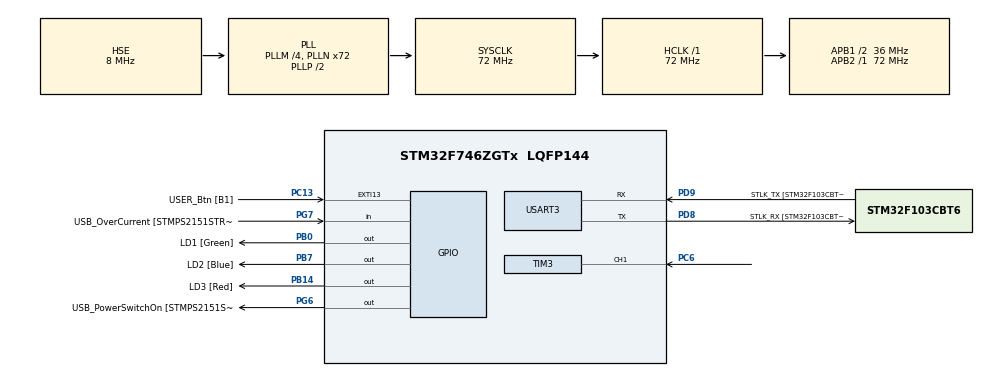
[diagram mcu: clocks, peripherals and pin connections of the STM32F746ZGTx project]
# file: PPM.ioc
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Mcu.Family=STM32F7
Mcu.Name=STM32F746ZGTx
Mcu.Package=LQFP144
NVIC.PriorityGroup=NVIC_PRIORITYGROUP_4
NVIC.TIM3_IRQn=true\:0\:0\:false\:false\:true\:true\:true\:true
NVIC.TIM6_DAC_IRQn=true\:0\:0\:false\:false\:true\:true\:true\:true
PA1.GPIO_Label=RMII_REF_CLK [LAN8742A-CZ-TR_REFCLK0]
PA1.Signal=ETH_REF_CLK
PA10.GPIO_Label=USB_ID
PA10.Signal=USB_OTG_FS_ID
PA11.GPIO_Label=USB_DM
PA11.Signal=USB_OTG_FS_DM
PA12.GPIO_Label=USB_DP
PA12.Signal=USB_OTG_FS_DP
PA13.GPIO_Label=TMS
PA13.Mode=Serial_Wire
PA13.Signal=SYS_JTMS-SWDIO
PA14.GPIO_Label=TCK
PA14.Mode=Serial_Wire
PA14.Signal=SYS_JTCK-SWCLK
PA2.GPIO_Label=RMII_MDIO [LAN8742A-CZ-TR_MDIO]
PA2.Signal=ETH_MDIO
PA7.GPIO_Label=RMII_CRS_DV [LAN8742A-CZ-TR_CRS_DV]
PA7.Signal=ETH_CRS_DV
PA8.GPIO_Label=USB_SOF [TP1]
PA8.Signal=USB_OTG_FS_SOF
PA9.GPIO_Label=USB_VBUS
PA9.Signal=USB_OTG_FS_VBUS
PB0.GPIO_Label=LD1 [Green]
PB0.Signal=GPIO_Output
PB13.GPIO_Label=RMII_TXD1 [LAN8742A-CZ-TR_TXD1]
PB13.Signal=ETH_TXD1
PB14.GPIO_Label=LD3 [Red]
PB14.Signal=GPIO_Output
PB3.GPIO_Label=SW0
PB3.Signal=SYS_JTDO-SWO
PB7.GPIO_Label=LD2 [Blue]
PB7.Signal=GPIO_Output
PC1.GPIO_Label=RMII_MDC [LAN8742A-CZ-TR_MDC]
PC1.Signal=ETH_MDC
PC13.GPIO_Label=USER_Btn [B1]
PC13.Signal=GPXTI13
PC14/OSC32_IN.Mode=LSE-External-Oscillator
PC14/OSC32_IN.Signal=RCC_OSC32_IN
PC15/OSC32_OUT.Mode=LSE-External-Oscillator
PC15/OSC32_OUT.Signal=RCC_OSC32_OUT
PC4.GPIO_Label=RMII_RXD0 [LAN8742A-CZ-TR_RXD0]
PC4.Signal=ETH_RXD0
PC5.GPIO_Label=RMII_RXD1 [LAN8742A-CZ-TR_RXD1]
PC5.Signal=ETH_RXD1
PC6.Signal=S_TIM3_CH1
PD8.GPIO_Label=STLK_RX [STM32F103CBT6_PA3]
PD8.GPIO_PuPd=GPIO_PULLUP
PD8.Mode=Asynchronous
PD8.Signal=USART3_TX
PD9.GPIO_Label=STLK_TX [STM32F103CBT6_PA2]
PD9.GPIO_PuPd=GPIO_PULLUP
PD9.Mode=Asynchronous
PD9.Signal=USART3_RX
PG11.GPIO_Label=RMII_TX_EN [LAN8742A-CZ-TR_TXEN]
PG11.Signal=ETH_TX_EN
PG13.GPIO_Label=RMII_TXD0 [LAN8742A-CZ-TR_TXD0]
PG13.Signal=ETH_TXD0
PG6.GPIO_Label=USB_PowerSwitchOn [STMPS2151STR_EN]
PG6.Signal=GPIO_Output
PG7.GPIO_Label=USB_OverCurrent [STMPS2151STR_FAULT]
PG7.Signal=GPIO_Input
PH0/OSC_IN.GPIO_Label=MCO [STM32F103CBT6_PA8]
PH0/OSC_IN.Mode=HSE-External-Clock-Source
PH0/OSC_IN.Signal=RCC_OSC_IN
PH1/OSC_OUT.Mode=HSE-External-Clock-Source
PH1/OSC_OUT.Signal=RCC_OSC_OUT
ProjectManager.HeapSize=0x200
ProjectManager.StackSize=0x400
ProjectManager.TargetToolchain=STM32CubeIDE
RCC.48MHZClocksFreq_Value=24000000
RCC.AHBFreq_Value=72000000
RCC.APB1CLKDivider=RCC_HCLK_DIV2
RCC.APB1Freq_Value=36000000
RCC.APB1TimFreq_Value=72000000
RCC.APB2Freq_Value=72000000
RCC.APB2TimFreq_Value=72000000
RCC.CortexFreq_Value=72000000
RCC.HCLKFreq_Value=72000000
RCC.HSE_VALUE=8000000
RCC.HSI_VALUE=16000000
RCC.PLLM=4
RCC.PLLMUL=RCC_PLL_MUL9
RCC.PLLN=72
RCC.PLLQ=3
RCC.PLLSourceVirtual=RCC_PLLSOURCE_HSE
RCC.PRESCALERUSB=RCC_USBCLKSOURCE_PLL_DIV1_5
RCC.SYSCLKFreq_VALUE=72000000
RCC.SYSCLKSource=RCC_SYSCLKSOURCE_PLLCLK
RCC.SYSCLKSourceVirtual=RCC_SYSCLKSOURCE_PLLCLK
RCC.USBFreq_Value=48000000
RCC.VCOOutputFreq_Value=144000000
SH.S_TIM3_CH1.0=TIM3_CH1,Input_Capture1_from_TI1
TIM3.Channel-Input_Capture1_from_TI1=TIM_CHANNEL_1
TIM3.ICPolarity_CH1=TIM_INPUTCHANNELPOLARITY_FALLING
TIM3.Period=0xFFFF
TIM3.Prescaler=71
TIM6.Period=20000
TIM6.Prescaler=7199
USART3.VirtualMode-Asynchronous=VM_ASYNC
VP_TIM6_VS_ClockSourceINT.Mode=Enable_Timer
board=NUCLEO-F746ZG

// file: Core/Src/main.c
/* USER CODE BEGIN Header */
/**
  ******************************************************************************
  * @file           : main.c
  * @brief          : Main program body
  ******************************************************************************
  * @attention
  *
  * Copyright (c) 2023 STMicroelectronics.
  * All rights reserved.
  *
  * This software is licensed under terms that can be found in the LICENSE file
  * in the root directory of this software component.
  * If no LICENSE file comes with this software, it is provided AS-IS.
  * This software is written for the test of the PPM module based on Nucleo-746.
  ******************************************************************************
  */
/* USER CODE END Header */
#include "main.h"
#include "tim.h"
#include "usart.h"
#include "gpio.h"

/* USER CODE BEGIN Includes */
#include "PPM.h"
/* USER CODE END Includes */

/* USER CODE BEGIN PV */
uint8_t msg_buffer[200];
const uint8_t packet_lost_msg [] = "Packet Lost...\n";
/* USER CODE END PV */

void SystemClock_Config(void);

int main(void)
{

  /* MCU Configuration--------------------------------------------------------*/

  /* Reset of all peripherals, Initializes the Flash interface and the Systick. */
  HAL_Init();

  /* Configure the system clock */
  SystemClock_Config();

  /* Initialize all configured peripherals */
  MX_GPIO_Init();
  MX_USART3_UART_Init();
  MX_TIM3_Init();
  MX_TIM6_Init();
  /* USER CODE BEGIN 2 */

  if ( HAL_TIM_Base_Start_IT(&htim6) != HAL_OK )
  {
	  HAL_UART_Transmit(&huart3,(const uint8_t*) "Timer6 Configuration Error\n",
	  				sizeof("Timer6 Configuration Error\n"), 10);
  }
  if (HAL_TIM_IC_Start_IT(&htim3, TIM_CHANNEL_1) != HAL_OK )
	{
		HAL_UART_Transmit(&huart3,(const uint8_t*) "Timer3 Configuration Error\n",
				sizeof("Timer3 Configuration Error\n"), 10);
	}
  /* USER CODE END 2 */

  /* Infinite loop */
  while (1)
  {

    /* USER CODE BEGIN 3 */
	  HAL_GPIO_TogglePin(LD2_GPIO_Port, LD2_Pin);
	  /*sprintf((char*)msg_buffer,"channel[%d]=%d\n",0,PpmGetChannelRaw(0));
	  HAL_UART_Transmit(&huart3, msg_buffer, sizeof(msg_buffer),10);*/
	  if( PpmStatusCheck() == kPpmPacketLost )
	  {
		  HAL_UART_Transmit(&huart3, packet_lost_msg, sizeof(packet_lost_msg),10);
	  }
	  else
	  {
		  sprintf((char*)msg_buffer,"channel[%d]=%d\n",kPpmChannel1,PpmGetChannelRaw(kPpmChannel1));
		  HAL_UART_Transmit(&huart3, msg_buffer, sizeof(msg_buffer),10);
	  }
	  HAL_Delay(500);

  }
  /* USER CODE END 3 */
}

void SystemClock_Config(void)
{
  RCC_OscInitTypeDef RCC_OscInitStruct = {0};
  RCC_ClkInitTypeDef RCC_ClkInitStruct = {0};

  /** Configure LSE Drive Capability
  */
  HAL_PWR_EnableBkUpAccess();

  /** Configure the main internal regulator output voltage
  */
  __HAL_RCC_PWR_CLK_ENABLE();
  __HAL_PWR_VOLTAGESCALING_CONFIG(PWR_REGULATOR_VOLTAGE_SCALE3);

  /** Initializes the RCC Oscillators according to the specified parameters
  * in the RCC_OscInitTypeDef structure.
  */
  RCC_OscInitStruct.OscillatorType = RCC_OSCILLATORTYPE_HSE;
  RCC_OscInitStruct.HSEState = RCC_HSE_BYPASS;
  RCC_OscInitStruct.PLL.PLLState = RCC_PLL_ON;
  RCC_OscInitStruct.PLL.PLLSource = RCC_PLLSOURCE_HSE;
  RCC_OscInitStruct.PLL.PLLM = 4;
  RCC_OscInitStruct.PLL.PLLN = 72;
  RCC_OscInitStruct.PLL.PLLP = RCC_PLLP_DIV2;
  RCC_OscInitStruct.PLL.PLLQ = 3;
  if (HAL_RCC_OscConfig(&RCC_OscInitStruct) != HAL_OK)
  {
    Error_Handler();
  }

  /** Initializes the CPU, AHB and APB buses clocks
  */
  RCC_ClkInitStruct.ClockType = RCC_CLOCKTYPE_HCLK|RCC_CLOCKTYPE_SYSCLK
                              |RCC_CLOCKTYPE_PCLK1|RCC_CLOCKTYPE_PCLK2;
  RCC_ClkInitStruct.SYSCLKSource = RCC_SYSCLKSOURCE_PLLCLK;
  RCC_ClkInitStruct.AHBCLKDivider = RCC_SYSCLK_DIV1;
  RCC_ClkInitStruct.APB1CLKDivider = RCC_HCLK_DIV2;
  RCC_ClkInitStruct.APB2CLKDivider = RCC_HCLK_DIV1;

  if (HAL_RCC_ClockConfig(&RCC_ClkInitStruct, FLASH_LATENCY_2) != HAL_OK)
  {
    Error_Handler();
  }
}

/* USER CODE BEGIN 4 */
uint32_t pulse_width = 0;
static uint16_t tim3_capture_width = 0;
static uint16_t tim3_capture1 = 0;
static uint16_t tim3_capture2 = 0;
/**
 * @fn void HAL_TIM_IC_CaptureCallback(TIM_HandleTypeDef*)
 * @brief 	This function is called when the rising edge of the PPM signal occurred
 *			The timer counter is picked up and the difference between current
 *			counter and previously stored counter are calculated.
 * @pre
 * @post  the timer must be initialized at 1 MHz and the rising or the falling edge triggered.
 * @param htim handler of timer
 */
void HAL_TIM_IC_CaptureCallback(TIM_HandleTypeDef* htim)
{
	if(htim->Instance == TIM3 && htim->Channel == HAL_TIM_ACTIVE_CHANNEL_1)
	{
		/**
		 * The timer counts from 0 to 0xFFFF. When the counter register is read,
		 * it may be a number range of 0 to 0xFFFF. The difference between this
		 * to number should be calculated. It's possible first number is greater
		 * than the second number that originates from the essence of the circular
		 * timer counter. this part of the code solves this issue.
		 */
		tim3_capture2 = HAL_TIM_ReadCapturedValue(htim, TIM_CHANNEL_1);

		if(tim3_capture2 > tim3_capture1)
		{
			tim3_capture_width = (tim3_capture2 - tim3_capture1);
			PpmEngine(tim3_capture_width);
		}
		else if (tim3_capture2 < tim3_capture1)
		{
			tim3_capture_width = ((0xFFFF - tim3_capture1) + tim3_capture2)+1;
			PpmEngine(tim3_capture_width);
		}
		else
		{
			/*An error is occurred */
			PpmTimeOut();
		}
		tim3_capture1 = tim3_capture2;
	}

}
/**
 * @fn void HAL_TIM_PeriodElapsedCallback(TIM_HandleTypeDef*)
 * @brief This function should be implemented similarly to the watch-dog
 * 			this function is called after one second and it calls
 * 			PpmTimeOunt.To avoid this, PpmHeartBeat must be implemented
 * 			to reset the counter of this timer. PpmHeartBeat is called
 * 			when a health packet is received by PpmEngine.
 * @pre
 * @post  the timer must be initialized at GP mode and count down for N
 * 		  N stands for N seconds time out. N is related to application
 * 		  and safe mode policy.
 * @param htim handler of timer
 */
void HAL_TIM_PeriodElapsedCallback(TIM_HandleTypeDef* htim)
{
	if( htim->Instance == TIM6 )
	{
		PpmTimeOut();
		HAL_GPIO_TogglePin(LD1_GPIO_Port, LD1_Pin);
	}
}
/**
 * @fn void PpmHeartBeat(void)
 * @brief This function is prototyped in the PPM module and is called
 * 			in the PpmEngine function when a healthy packet is received.
 * 			If PpmTimeOut is called, then this function must be implemented.
 * 			this function is prototyped in PPM.h as a weak function
 * @pre
 * @post
 */
void PpmHeartBeat(void)
{
	__HAL_TIM_SET_COUNTER(&htim6,0);

}
/* USER CODE END 4 */

void Error_Handler(void)
{
  __disable_irq();
  while (1)
  {
  }
}
